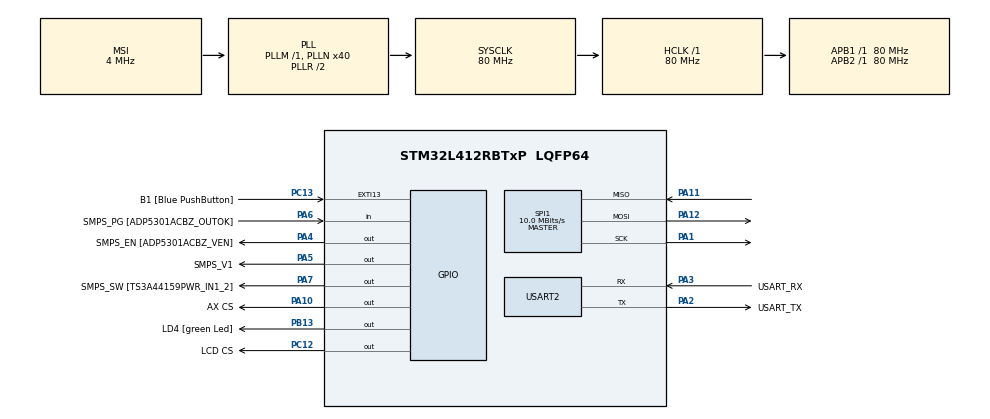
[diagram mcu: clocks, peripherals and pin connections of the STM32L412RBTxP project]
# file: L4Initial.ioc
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Mcu.Family=STM32L4
Mcu.Name=STM32L412RBTxP
Mcu.Package=LQFP64
NVIC.PriorityGroup=NVIC_PRIORITYGROUP_4
PA1.Mode=Full_Duplex_Master
PA1.Signal=SPI1_SCK
PA10.GPIO_Label=AX CS
PA10.PinState=GPIO_PIN_SET
PA10.Signal=GPIO_Output
PA11.Mode=Full_Duplex_Master
PA11.Signal=SPI1_MISO
PA12.Mode=Full_Duplex_Master
PA12.Signal=SPI1_MOSI
PA13\ (JTMS/SWDIO).GPIO_Label=TMS
PA13\ (JTMS/SWDIO).Mode=Serial_Wire
PA13\ (JTMS/SWDIO).Signal=SYS_JTMS-SWDIO
PA14\ (JTCK/SWCLK).GPIO_Label=TCK
PA14\ (JTCK/SWCLK).Mode=Serial_Wire
PA14\ (JTCK/SWCLK).Signal=SYS_JTCK-SWCLK
PA2.GPIO_Label=USART_TX
PA2.GPIO_PuPd=GPIO_NOPULL
PA2.GPIO_Speed=GPIO_SPEED_FREQ_VERY_HIGH
PA2.Mode=Asynchronous
PA2.Signal=USART2_TX
PA3.GPIO_Label=USART_RX
PA3.GPIO_PuPd=GPIO_NOPULL
PA3.GPIO_Speed=GPIO_SPEED_FREQ_VERY_HIGH
PA3.Mode=Asynchronous
PA3.Signal=USART2_RX
PA4.GPIO_Label=SMPS_EN [ADP5301ACBZ_VEN]
PA4.Signal=GPIO_Output
PA5.GPIO_Label=SMPS_V1
PA5.GPIO_ModeDefaultOutputPP=GPIO_MODE_OUTPUT_PP
PA5.GPIO_PuPd=GPIO_NOPULL
PA5.GPIO_Speed=GPIO_SPEED_FREQ_LOW
PA5.Signal=GPIO_Output
PA6.GPIO_Label=SMPS_PG [ADP5301ACBZ_OUTOK]
PA6.GPIO_PuPd=GPIO_PULLUP
PA6.Signal=GPIO_Input
PA7.GPIO_Label=SMPS_SW [TS3A44159PWR_IN1_2]
PA7.Signal=GPIO_Output
PB13.GPIO_Label=LD4 [green Led]
PB13.Signal=GPIO_Output
PB3\ (JTDO/TRACESWO).GPIO_Label=SWO
PB3\ (JTDO/TRACESWO).Signal=SYS_JTDO-SWO
PC12.GPIO_Label=LCD CS
PC12.Signal=GPIO_Output
PC13.GPIO_Label=B1 [Blue PushButton]
PC13.GPIO_ModeDefaultEXTI=GPIO_MODE_IT_FALLING
PC13.GPIO_PuPd=GPIO_NOPULL
PC13.Signal=GPXTI13
PC14-OSC32_IN\ (PC14).Mode=LSE-External-Oscillator
PC14-OSC32_IN\ (PC14).Signal=RCC_OSC32_IN
PC15-OSC32_OUT\ (PC15).Mode=LSE-External-Oscillator
PC15-OSC32_OUT\ (PC15).Signal=RCC_OSC32_OUT
PH0-OSC_IN\ (PH0).GPIO_Label=MCO
PH0-OSC_IN\ (PH0).Mode=HSE-External-Clock-Source
PH0-OSC_IN\ (PH0).Signal=RCC_OSC_IN
PH1-OSC_OUT\ (PH1).Signal=RCC_OSC_OUT
ProjectManager.HeapSize=0x200
ProjectManager.StackSize=0x400
ProjectManager.TargetToolchain=STM32CubeIDE
RCC.ADCFreq_Value=80000000
RCC.AHBFreq_Value=80000000
RCC.APB1Freq_Value=80000000
RCC.APB1TimFreq_Value=80000000
RCC.APB2Freq_Value=80000000
RCC.APB2TimFreq_Value=80000000
RCC.CortexFreq_Value=80000000
RCC.FLatency=FLASH_LATENCY_4
RCC.HCLKFreq_Value=80000000
RCC.HSE_VALUE=8000000
RCC.HSI48_VALUE=48000000
RCC.HSICalibrationValue=16
RCC.HSI_VALUE=16000000
RCC.MSIAutoCalibration=DISABLED
RCC.MSI_VALUE=4000000
RCC.PLLN=40
RCC.PREFETCH_ENABLE=1
RCC.SYSCLKFreq_VALUE=80000000
RCC.SYSCLKSource=RCC_SYSCLKSOURCE_PLLCLK
RCC.USBFreq_Value=4000000
RCC.VCOOutputFreq_Value=160000000
SPI1.BaudRatePrescaler=SPI_BAUDRATEPRESCALER_8
SPI1.CalculateBaudRate=10.0 MBits/s
SPI1.DataSize=SPI_DATASIZE_8BIT
SPI1.Direction=SPI_DIRECTION_2LINES
SPI1.Mode=SPI_MODE_MASTER
SPI1.VirtualType=VM_MASTER
USART2.VirtualMode-Asynchronous=VM_ASYNC
board=NUCLEO-L412RB-P

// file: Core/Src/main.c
/* USER CODE BEGIN Header */
/**
 ******************************************************************************
 * @file           : main.c
 * @brief          : Main program body
 ******************************************************************************
 * @attention
 *
 * Copyright (c) 2022 STMicroelectronics.
 * All rights reserved.
 *
 * This software is licensed under terms that can be found in the LICENSE file
 * in the root directory of this software component.
 * If no LICENSE file comes with this software, it is provided AS-IS.
 *
 ******************************************************************************
 */
/* USER CODE END Header */
#include "main.h"

/* USER CODE BEGIN Includes */
#include <stdio.h>
#include "../../AX5243/ax5243.h"
#include "../../AX5243/ax5243_api.h"

/* USER CODE END Includes */

/* USER CODE BEGIN PD */
#define _DEBUG 1
/* USER CODE END PD */

/* USER CODE BEGIN PM */
#if(_DEBUG)
#define PUTCHAR_PROTOTYPE int __io_putchar(int ch)
#endif
/* USER CODE END PM */

SPI_HandleTypeDef hspi1;

UART_HandleTypeDef huart2;

void SystemClock_Config(void);
static void MX_GPIO_Init(void);
static void MX_USART2_UART_Init(void);
static void MX_SPI1_Init(void);

/* USER CODE BEGIN 0 */

/**
 * @brief  Retargets the C library printf function to the USART.
 * @param  None
 * @retval None
 */
#if(_DEBUG)
PUTCHAR_PROTOTYPE {
	/* Place your implementation of fputc here */
	/* e.g. write a character to the USART1 and Loop until the end of transmission */
	HAL_UART_Transmit(&huart2, (uint8_t*) &ch, 1, 0xFFFF);

	return ch;
}
#endif
/* USER CODE END 0 */

int main(void) {

	/* MCU Configuration--------------------------------------------------------*/

	/* Reset of all peripherals, Initializes the Flash interface and the Systick. */
	HAL_Init();

	/* Configure the system clock */
	SystemClock_Config();

	/* Initialize all configured peripherals */
	MX_GPIO_Init();
	MX_USART2_UART_Init();
	MX_SPI1_Init();
	/* USER CODE BEGIN 2 */
	int upTime = 0;
	uint8_t status = 0;
	uint8_t data = 0;

	uint8_t sil_rev_short = 0b0000000;

	printf("Checking Silicon Rev Bits\n\r");
	AX_Radio_RW_Short_Address(&sil_rev_short, &status, &data, &hspi1, 0xff, 0);
	upTime++;
	printf("Sys Uptime: %d\n\r", upTime);
	printf("Status Bits: %x\n\r", status);
	printf("Silicon Rev Bits: %x\n\n\r", data);
	HAL_Delay(3000);

	printf("Attempting to init radio in full transmit @ 433MHz\n\r");
//	int init_status = AX_Radio_Init(&hspi1);
	int init_status = AX_Radio_Full_Init(&hspi1);
	printf("Result: %d\n\r", init_status);
	printf("Entering eternal loop\n\n\r");
	/* USER CODE END 2 */

	/* Infinite loop */
	while (1) {

		/* USER CODE BEGIN 3 */
		printf("Switching to full TX\n\r");
		AX_Radio_FIFO_Routine(&hspi1);
		printf("AX Status %x\n\r", AX_Radio_Get_Status(&hspi1));
		printf("PLL Status %x\n\r", AX_Radio_Check_PLL(&hspi1));
	}

	/* USER CODE END 3 */
}

void SystemClock_Config(void) {
	RCC_OscInitTypeDef RCC_OscInitStruct = { 0 };
	RCC_ClkInitTypeDef RCC_ClkInitStruct = { 0 };

	/** Configure the main internal regulator output voltage
	 */
	if (HAL_PWREx_ControlVoltageScaling(PWR_REGULATOR_VOLTAGE_SCALE1)
			!= HAL_OK) {
		Error_Handler();
	}

	/** Initializes the RCC Oscillators according to the specified parameters
	 * in the RCC_OscInitTypeDef structure.
	 */
	RCC_OscInitStruct.OscillatorType = RCC_OSCILLATORTYPE_MSI;
	RCC_OscInitStruct.MSIState = RCC_MSI_ON;
	RCC_OscInitStruct.MSICalibrationValue = 0;
	RCC_OscInitStruct.MSIClockRange = RCC_MSIRANGE_6;
	RCC_OscInitStruct.PLL.PLLState = RCC_PLL_ON;
	RCC_OscInitStruct.PLL.PLLSource = RCC_PLLSOURCE_MSI;
	RCC_OscInitStruct.PLL.PLLM = 1;
	RCC_OscInitStruct.PLL.PLLN = 40;
	RCC_OscInitStruct.PLL.PLLQ = RCC_PLLQ_DIV2;
	RCC_OscInitStruct.PLL.PLLR = RCC_PLLR_DIV2;
	if (HAL_RCC_OscConfig(&RCC_OscInitStruct) != HAL_OK) {
		Error_Handler();
	}

	/** Initializes the CPU, AHB and APB buses clocks
	 */
	RCC_ClkInitStruct.ClockType = RCC_CLOCKTYPE_HCLK | RCC_CLOCKTYPE_SYSCLK
			| RCC_CLOCKTYPE_PCLK1 | RCC_CLOCKTYPE_PCLK2;
	RCC_ClkInitStruct.SYSCLKSource = RCC_SYSCLKSOURCE_PLLCLK;
	RCC_ClkInitStruct.AHBCLKDivider = RCC_SYSCLK_DIV1;
	RCC_ClkInitStruct.APB1CLKDivider = RCC_HCLK_DIV1;
	RCC_ClkInitStruct.APB2CLKDivider = RCC_HCLK_DIV1;

	if (HAL_RCC_ClockConfig(&RCC_ClkInitStruct, FLASH_LATENCY_4) != HAL_OK) {
		Error_Handler();
	}
}

static void MX_SPI1_Init(void) {

	/* SPI1 parameter configuration*/
	hspi1.Instance = SPI1;
	hspi1.Init.Mode = SPI_MODE_MASTER;
	hspi1.Init.Direction = SPI_DIRECTION_2LINES;
	hspi1.Init.DataSize = SPI_DATASIZE_8BIT;
	hspi1.Init.CLKPolarity = SPI_POLARITY_LOW;
	hspi1.Init.CLKPhase = SPI_PHASE_1EDGE;
	hspi1.Init.NSS = SPI_NSS_SOFT;
	hspi1.Init.BaudRatePrescaler = SPI_BAUDRATEPRESCALER_2;
	hspi1.Init.FirstBit = SPI_FIRSTBIT_MSB;
	hspi1.Init.TIMode = SPI_TIMODE_DISABLE;
	hspi1.Init.CRCCalculation = SPI_CRCCALCULATION_DISABLE;
	hspi1.Init.CRCPolynomial = 7;
	hspi1.Init.CRCLength = SPI_CRC_LENGTH_DATASIZE;
	hspi1.Init.NSSPMode = SPI_NSS_PULSE_ENABLE;
	if (HAL_SPI_Init(&hspi1) != HAL_OK) {
		Error_Handler();
	}

}

static void MX_USART2_UART_Init(void) {

	huart2.Instance = USART2;
	huart2.Init.BaudRate = 115200;
	huart2.Init.WordLength = UART_WORDLENGTH_8B;
	huart2.Init.StopBits = UART_STOPBITS_1;
	huart2.Init.Parity = UART_PARITY_NONE;
	huart2.Init.Mode = UART_MODE_TX_RX;
	huart2.Init.HwFlowCtl = UART_HWCONTROL_NONE;
	huart2.Init.OverSampling = UART_OVERSAMPLING_16;
	huart2.Init.OneBitSampling = UART_ONE_BIT_SAMPLE_DISABLE;
	huart2.AdvancedInit.AdvFeatureInit = UART_ADVFEATURE_NO_INIT;
	if (HAL_UART_Init(&huart2) != HAL_OK) {
		Error_Handler();
	}

}

static void MX_GPIO_Init(void) {
	GPIO_InitTypeDef GPIO_InitStruct = { 0 };

	/* GPIO Ports Clock Enable */
	__HAL_RCC_GPIOC_CLK_ENABLE();
	__HAL_RCC_GPIOH_CLK_ENABLE();
	__HAL_RCC_GPIOA_CLK_ENABLE();
	__HAL_RCC_GPIOB_CLK_ENABLE();

	/*Configure GPIO pin Output Level */
	HAL_GPIO_WritePin(GPIOA, SMPS_EN_Pin | SMPS_V1_Pin | SMPS_SW_Pin,
			GPIO_PIN_RESET);

	/*Configure GPIO pin Output Level */
	HAL_GPIO_WritePin(LD4_GPIO_Port, LD4_Pin, GPIO_PIN_RESET);

	/*Configure GPIO pin Output Level */
	HAL_GPIO_WritePin(AX_CS_GPIO_Port, AX_CS_Pin, GPIO_PIN_SET);

	/*Configure GPIO pin : B1_Pin */
	GPIO_InitStruct.Pin = B1_Pin;
	GPIO_InitStruct.Mode = GPIO_MODE_IT_FALLING;
	GPIO_InitStruct.Pull = GPIO_NOPULL;
	HAL_GPIO_Init(B1_GPIO_Port, &GPIO_InitStruct);

	/*Configure GPIO pins : SMPS_EN_Pin SMPS_V1_Pin SMPS_SW_Pin AX_CS_Pin */
	GPIO_InitStruct.Pin = SMPS_EN_Pin | SMPS_V1_Pin | SMPS_SW_Pin | AX_CS_Pin;
	GPIO_InitStruct.Mode = GPIO_MODE_OUTPUT_PP;
	GPIO_InitStruct.Pull = GPIO_NOPULL;
	GPIO_InitStruct.Speed = GPIO_SPEED_FREQ_LOW;
	HAL_GPIO_Init(GPIOA, &GPIO_InitStruct);

	/*Configure GPIO pin : SMPS_PG_Pin */
	GPIO_InitStruct.Pin = SMPS_PG_Pin;
	GPIO_InitStruct.Mode = GPIO_MODE_INPUT;
	GPIO_InitStruct.Pull = GPIO_PULLUP;
	HAL_GPIO_Init(SMPS_PG_GPIO_Port, &GPIO_InitStruct);

	/*Configure GPIO pin : LD4_Pin */
	GPIO_InitStruct.Pin = LD4_Pin;
	GPIO_InitStruct.Mode = GPIO_MODE_OUTPUT_PP;
	GPIO_InitStruct.Pull = GPIO_NOPULL;
	GPIO_InitStruct.Speed = GPIO_SPEED_FREQ_LOW;
	HAL_GPIO_Init(LD4_GPIO_Port, &GPIO_InitStruct);

}

void Error_Handler(void) {
	__disable_irq();
	while (1) {
	}
}
